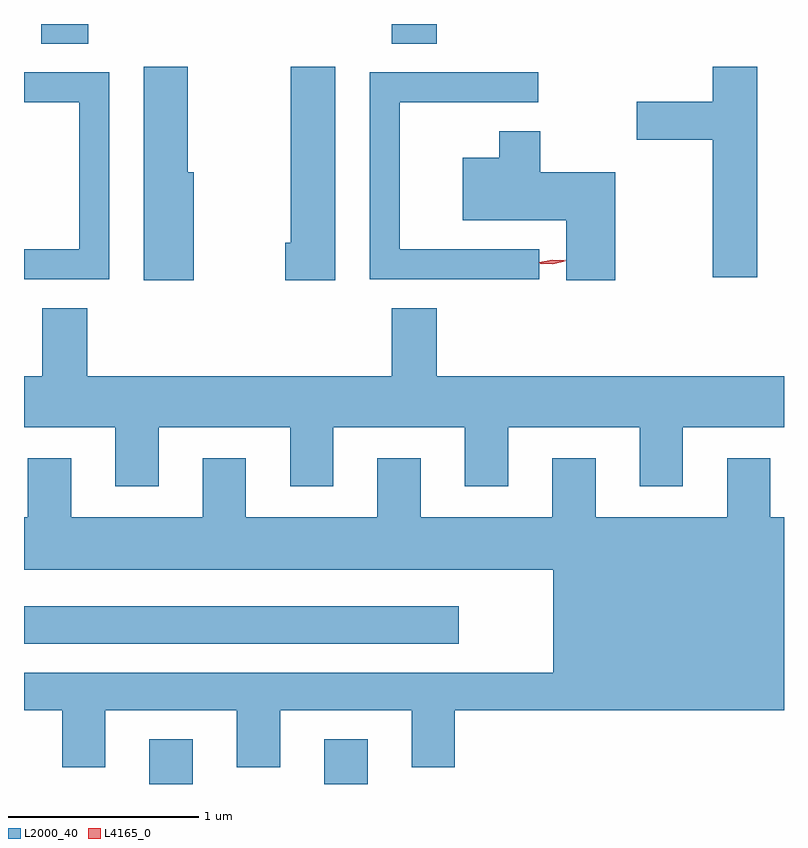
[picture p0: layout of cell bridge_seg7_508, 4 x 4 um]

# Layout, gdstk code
import gdstk
lib = gdstk.Library(unit=1e-6, precision=1e-09)
def R(c, l, rs):  # rectangles x0, y0, x1, y1
    for r in rs: c.add(gdstk.rectangle(r[:2], r[2:], *l))
def P(c, l, *ps):  # polygons
    for p in ps: c.add(gdstk.Polygon(p, *l))
L2000_40 = (2000, 40)
L4165_0 = (4165, 0)

bridge_seg7_508 = lib.new_cell('bridge_seg7_508')
R(bridge_seg7_508, L2000_40, [(1321.961,1721.319,1322.189,1721.554), (1322.881,1721.319,1323.109,1721.554), (1321.301,1722.056,1323.589,1722.254), (1321.391,1725.216,1321.639,1725.319), (1323.236,1725.216,1323.474,1725.319)])
P(bridge_seg7_508, L2000_40, [(1322.194,1724.539),(1322.164,1724.539),(1322.164,1725.094),(1321.931,1725.094),(1321.931,1723.971),(1322.194,1723.971)],
  [(1325.159,1725.094),(1324.926,1725.094),(1324.926,1724.909),(1324.526,1724.909),(1324.526,1724.711),(1324.926,1724.711),(1324.926,1723.986),(1325.159,1723.986)],
  [(1322.939,1725.094),(1322.706,1725.094),(1322.706,1724.169),(1322.676,1724.169),(1322.676,1723.971),(1322.939,1723.971)],
  [(1321.749,1725.064),(1321.301,1725.064),(1321.301,1724.906),(1321.591,1724.906),(1321.591,1724.134),(1321.301,1724.134),(1321.301,1723.976),(1321.749,1723.976)],
  [(1324.013,1724.134),(1323.279,1724.134),(1323.279,1724.906),(1324.008,1724.906),(1324.008,1725.064),(1323.121,1725.064),(1323.121,1723.976),(1324.013,1723.976)],
  [(1324.414,1724.539),(1324.019,1724.539),(1324.019,1724.754),(1323.801,1724.754),(1323.801,1724.614),(1323.611,1724.614),(1323.611,1724.286),(1324.156,1724.286),(1324.156,1723.971),(1324.414,1723.971)],
  [(1322.009,1723.196),(1322.701,1723.196),(1322.701,1722.886),(1322.929,1722.886),(1322.929,1723.196),(1323.621,1723.196),(1323.621,1722.886),(1323.849,1722.886),(1323.849,1723.196),(1324.541,1723.196),(1324.541,1722.886),(1324.769,1722.886),(1324.769,1723.196),(1325.301,1723.196),(1325.301,1723.464),(1323.474,1723.464),(1323.474,1723.824),(1323.236,1723.824),(1323.236,1723.464),(1321.634,1723.464),(1321.634,1723.824),(1321.396,1723.824),(1321.396,1723.464),(1321.301,1723.464),(1321.301,1723.196),(1321.781,1723.196),(1321.781,1722.886),(1322.009,1722.886)],
  [(1321.729,1721.706),(1322.421,1721.706),(1322.421,1721.406),(1322.649,1721.406),(1322.649,1721.706),(1323.341,1721.706),(1323.341,1721.406),(1323.569,1721.406),(1323.569,1721.706),(1325.301,1721.706),(1325.301,1722.724),(1325.229,1722.724),(1325.229,1723.034),(1325.001,1723.034),(1325.001,1722.724),(1324.309,1722.724),(1324.309,1723.034),(1324.081,1723.034),(1324.081,1722.724),(1323.389,1722.724),(1323.389,1723.034),(1323.161,1723.034),(1323.161,1722.724),(1322.469,1722.724),(1322.469,1723.034),(1322.241,1723.034),(1322.241,1722.724),(1321.549,1722.724),(1321.549,1723.034),(1321.321,1723.034),(1321.321,1722.724),(1321.301,1722.724),(1321.301,1722.446),(1324.086,1722.446),(1324.086,1721.904),(1321.301,1721.904),(1321.301,1721.706),(1321.501,1721.706),(1321.501,1721.406),(1321.729,1721.406)])
P(bridge_seg7_508, L4165_0, [(1324.083,1724.059),(1324.014,1724.063),(1324.014,1724.063),(1324.014,1724.064),(1324.082,1724.079),(1324.151,1724.076),(1324.152,1724.075),(1324.151,1724.075)],
  [(1324.084,1724.054),(1324.018,1724.058),(1324.017,1724.058),(1324.018,1724.059),(1324.083,1724.074),(1324.149,1724.071),(1324.15,1724.07),(1324.149,1724.07)])

lib.write_gds('bridge_seg7_508.gds')
